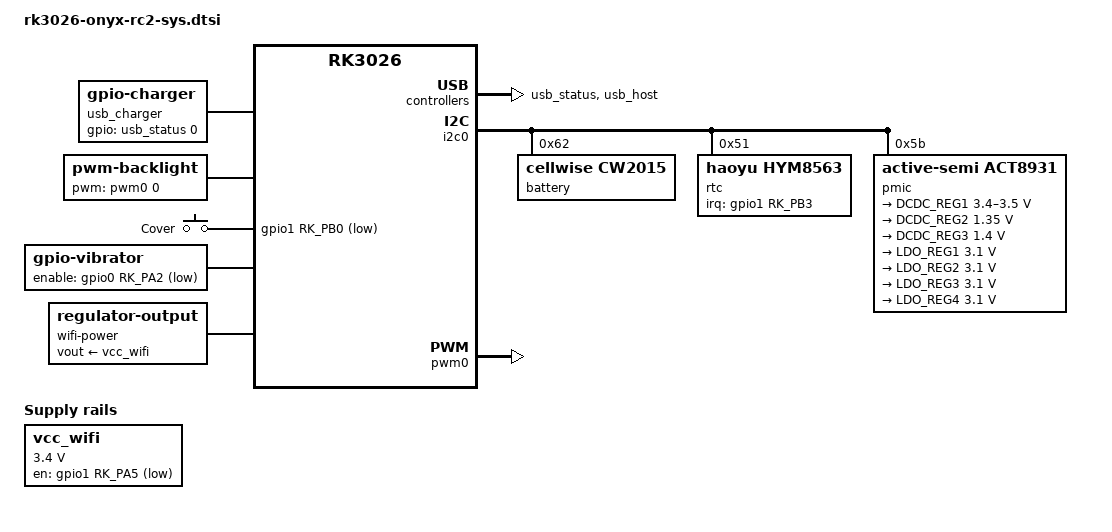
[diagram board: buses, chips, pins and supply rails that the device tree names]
// SPDX-License-Identifier: (GPL-2.0+ OR MIT)
/*
 * ONYX BOOX Robinson Crusoe 2: system devices that need no PMIC driver.
 *
 * Included at the end of rk3026-onyx-rc2.dts. Wiring from the stock board
 * file of this board (pcb V1.73).
 *
 * The ACT8931 (i2c0 0x5b) is described at the voltages it holds; its
 * driver writes it only within the node's maxima and compiled-in stock
 * limits (see the pmic@5b node), and no node uses its outputs (the rails
 * stay the fixed regulators of the board file). The gauge and the RTC
 * share its bus, and the gauge's charger state comes from the GRF, not
 * from the PMIC.
 */

#include <dt-bindings/gpio/gpio.h>
#include <dt-bindings/input/input.h>
#include <dt-bindings/interrupt-controller/irq.h>
#include <dt-bindings/pinctrl/rockchip.h>

/ {
	/*
	 * USB-only charging: there is no DC-detect pin, and the stock battery
	 * driver takes "charger present" from the OTG controller's bvalid.
	 * The same bit, read from GRF_SOC_STATUS0, says whether a cable
	 * supplies VBUS (host or wall charger alike).
	 */
	usb_charger: usb-charger {
		compatible = "gpio-charger";
		charger-type = "usb-sdp";
		gpios = <&usb_status 0 GPIO_ACTIVE_HIGH>;
	};
};

&grf {
	usb_status: usb-status {
		compatible = "rockchip,rk3026-grf-usb-status";
		gpio-controller;
		#gpio-cells = <2>;
		gpio-line-names = "otg-bvalid", "otg-linestate0",
				  "otg-linestate1", "otg-iddig";
	};
};

/*
 * CW2015 fuel gauge. Its ALRT line (GPIO1_B1) is not used: the driver
 * polls. With no battery profile here the driver keeps the profile the
 * gauge holds (the stock firmware loaded it; it survives as long as the
 * battery is connected).
 */
&i2c0 {
	battery@62 {
		compatible = "cellwise,cw2015";
		reg = <0x62>;
		power-supplies = <&usb_charger>;
	};
};

/*
 * HYM8563 RTC at i2c0 0x51; it keeps UTC. Its interrupt (GPIO1_B3, level
 * low) is the stock wake source for alarms. The driver's probe clears the
 * STOP bit, masks the alarm and timer interrupts and switches the
 * 32.768 kHz CLKOUT off; the alarm registers are written only when an
 * alarm is set.
 */
&i2c0 {
	rtc@51 {
		compatible = "haoyu,hym8563";
		reg = <0x51>;
		interrupt-parent = <&gpio1>;
		interrupts = <RK_PB3 IRQ_TYPE_LEVEL_LOW>;
		pinctrl-names = "default";
		pinctrl-0 = <&rtc_int>;
		wakeup-source;
	};
};

/*
 * ACT8931 PMU at i2c0 0x5b (driver act8931-regulator, a module loaded by
 * hand). VSEL (GPIO0_A3) is high, as the stock kernel leaves it, so VSET2
 * sets the DCDC outputs. The voltages are the ones the PMU holds on this
 * board (stock regdump, DS Table 6 decode). The driver bounds every VSET
 * write by the output's regulator-max-microvolt, so each maximum is the
 * highest selector the stock kernel sets: DCDC1 0x3b (3.5 V, its VCCIO
 * while Wi-Fi/BT is powered, and what the PMU reads on every mainline
 * boot; 0x3a otherwise), DCDC2 0x1b, DCDC3 0x1c, LDO1-4 0x37. On top of
 * that the RC2 stack compiles the same stock caps into the driver,
 * whatever this node says.
 *
 * Only two outputs get ops: DCDC3 (CPU) can be set, pinned here at its
 * current 1.40 V (minimum = maximum: no regulator consumer can move it);
 * LDO4 (panel logic) can be switched, and stays always-on until the EBC
 * driver takes it as its v3p3-supply: without a consumer the regulator
 * core would switch it off as unused. /init switches it on before the EBC
 * module loads, so binding writes nothing. Every other output is read
 * back only. No suspend state, no supply of another node: DCDC2 is the
 * DDR rail.
 */
&i2c0 {
	pmic@5b {
		compatible = "active-semi,act8931";
		reg = <0x5b>;
		active-semi,vsel-high;

		regulators {
			DCDC_REG1 {	/* VCC_IO, 0x3a; 0x3b with Wi-Fi/BT */
				regulator-min-microvolt = <3400000>;
				regulator-max-microvolt = <3500000>;
			};

			DCDC_REG2 {	/* DDR, 0x1b */
				regulator-min-microvolt = <1350000>;
				regulator-max-microvolt = <1350000>;
			};

			DCDC_REG3 {	/* ARM, 0x1c */
				regulator-min-microvolt = <1400000>;
				regulator-max-microvolt = <1400000>;
			};

			LDO_REG1 {	/* touch, 0x37 */
				regulator-min-microvolt = <3100000>;
				regulator-max-microvolt = <3100000>;
			};

			LDO_REG2 {	/* unused, off, 0x37 */
				regulator-min-microvolt = <3100000>;
				regulator-max-microvolt = <3100000>;
			};

			LDO_REG3 {	/* microSD, 0x37 */
				regulator-min-microvolt = <3100000>;
				regulator-max-microvolt = <3100000>;
			};

			LDO_REG4 {	/* panel logic, 0x37 */
				regulator-min-microvolt = <3100000>;
				regulator-max-microvolt = <3100000>;
				regulator-always-on;
				regulator-boot-on;
			};
		};
	};
};

&pinctrl {
	rtc {
		rtc_int: rtc-int {
			rockchip,pins = <1 RK_PB3 RK_FUNC_GPIO &pcfg_pull_default>;
		};
	};
};

/*
 * Front light: PWM0 on GPIO0_D2, duty proportional to brightness, no
 * enable GPIO. The stock driver runs it at 1 kHz (PWM_APB_PRE_DIV 1000,
 * prescaler 2) with 256 linear steps; boot leaves it dark.
 */
/ {
	backlight: backlight {
		compatible = "pwm-backlight";
		pwms = <&pwm0 0 1000000 0>;
		brightness-levels = <0 255>;
		num-interpolated-steps = <255>;
		default-brightness-level = <0>;
	};
};

&pwm0 {
	status = "okay";
};

/*
 * Magnet (cover) sensor on GPIO1_B0, no pull; stock turns its falling
 * edge into a power key press. Here it is a lid switch, so userspace sees
 * the state on both edges. Polarity (magnet = low) to be checked.
 * GPIO1_B0 doubles as SPI0_CLK for the panel's flash, which this
 * description never reads.
 *
 * Vibrator on GPIO0_A2, active low (stock timed-gpio "vibrator").
 */
/ {
	gpio-keys-lid {
		compatible = "gpio-keys";
		label = "Lid";
		pinctrl-names = "default";
		pinctrl-0 = <&lid_pin>;

		switch-lid {
			label = "Cover";
			gpios = <&gpio1 RK_PB0 GPIO_ACTIVE_LOW>;
			linux,input-type = <EV_SW>;
			linux,code = <SW_LID>;
			debounce-interval = <50>;
			wakeup-source;
		};
	};

	vibrator {
		compatible = "gpio-vibrator";
		enable-gpios = <&gpio0 RK_PA2 GPIO_ACTIVE_LOW>;
		pinctrl-names = "default";
		pinctrl-0 = <&vibrator_pin>;
	};
};

&pinctrl {
	lid {
		lid_pin: lid-pin {
			rockchip,pins = <1 RK_PB0 RK_FUNC_GPIO &pcfg_pull_none>;
		};
	};

	vibrator {
		vibrator_pin: vibrator-pin {
			rockchip,pins = <0 RK_PA2 RK_FUNC_GPIO &pcfg_pull_none>;
		};
	};
};

/*
 * Wi-Fi + Bluetooth: an RTL8723BU module on the host-only USB controller,
 * powered through GPIO1_A5, active low (stock: high = off at boot, low
 * while Wi-Fi or Bluetooth is in use). The switch is left to userspace,
 * as the stock bt_pwr / wifi on-off was: the module stays off until
 * "enabled" is written to /sys/devices/platform/wifi-power/state, then
 * enumerates on the host port (rtl8xxxu loads rtlwifi/rtl8723bu_nic.bin
 * from the root file system at that point).
 */
/ {
	vcc_wifi: regulator-vcc-wifi {
		compatible = "regulator-fixed";
		regulator-name = "vcc_wifi";
		regulator-min-microvolt = <3400000>;
		regulator-max-microvolt = <3400000>;
		gpio = <&gpio1 RK_PA5 GPIO_ACTIVE_LOW>;
		pinctrl-names = "default";
		pinctrl-0 = <&wifi_pwr>;
	};

	wifi-power {
		compatible = "regulator-output";
		vout-supply = <&vcc_wifi>;
	};
};

&pinctrl {
	wifi {
		wifi_pwr: wifi-pwr {
			rockchip,pins = <1 RK_PA5 RK_FUNC_GPIO &pcfg_pull_none>;
		};
	};
};

&usb_host {
	status = "okay";
};
